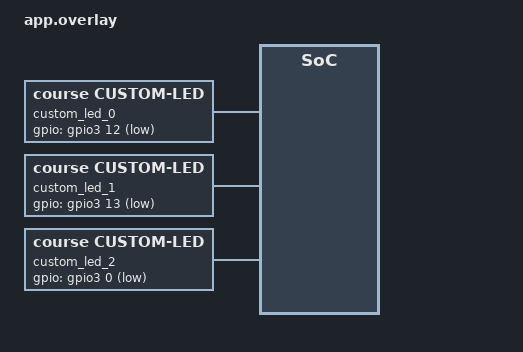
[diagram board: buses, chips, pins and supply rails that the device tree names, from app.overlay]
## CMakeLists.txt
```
cmake_minimum_required(VERSION 3.20.0)

find_package(Zephyr REQUIRED)
project(my_zephyr_app)

target_sources(app PRIVATE src/main.cpp src/blink.c)
```

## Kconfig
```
choice 
  prompt "LED blink sleep time"
  default LED_BLINK_1S

config LED_BLINK_250MS
  bool "250 ms (very fast)"

config LED_BLINK_500MS
  bool "500 ms (fast)"

config LED_BLINK_1S
  bool "1 s (medium)"

config LED_BLINK_2S
  bool "2 s (slow)"
endchoice

config LED_BLINK_SLEEP_TIME
  int
  default 250 if LED_BLINK_250MS
  default 500 if LED_BLINK_500MS
  default 1000 if LED_BLINK_1S

menuconfig ADVANCED_LED_SETTINGS
  bool "Advanced LED settings"
  default n

if ADVANCED_LED_SETTINGS
config LED_BRIGHTNESS
  int "LED brightness (0-100)"
  default 100
  range 0 100

config LED_FADE_DURATION
  int "LED fade duration (ms)"
  default 500
  range 0 5000
    
menu "Expert settings"
  visible if ADVANCED_LED_SETTINGS
config ENABLE_LED_DEBUGGING
  bool "Enable LED debugging"
  default n
config CUSTOM_BLINK_PATTERN
  bool "Custom blink pattern"
  default n
endmenu

endif

source "Kconfig.zephyr"
```

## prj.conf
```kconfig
CONFIG_GPIO=y
CONFIG_LOG=y
CONFIG_SENSOR=y
CONFIG_CUSTOM_LED=y
CONFIG_SHELL=y
CONFIG_CUSTOM_LED_SHELL=y
```

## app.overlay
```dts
/ {
    custom_led_0: custom-led0 {
        compatible = "course,custom-led";
        gpios = <&gpio3 12 GPIO_ACTIVE_LOW>;
    };

    custom_led_1: custom-led1 {
        compatible = "course,custom-led";
        gpios = <&gpio3 13 GPIO_ACTIVE_LOW>;
    };

    custom_led_2: custom-led2 {
        compatible = "course,custom-led";
        gpios = <&gpio3 0 GPIO_ACTIVE_LOW>;
    };

    aliases {
        ledr = &custom_led_0;
        ledg = &custom_led_1;
        ledb = &custom_led_2;
    };
};
```

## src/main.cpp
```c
#include <zephyr/drivers/gpio.h>
#include <zephyr/kernel.h>
#include <zephyr/logging/log.h>

/* The devicetree node identifier for the "app-led" alias. */
#define LED_NODE DT_ALIAS(app_led)

/* Shared with blink.c, so it needs C linkage. */
extern "C" const struct gpio_dt_spec led = GPIO_DT_SPEC_GET(LED_NODE, gpios);

extern "C" int blink(void);

LOG_MODULE_REGISTER(main, LOG_LEVEL_INF);

int main(void)
{
    bool led_state = true;

    if (!gpio_is_ready_dt(&led)) return 0;

    if (gpio_pin_configure_dt(&led, GPIO_OUTPUT_ACTIVE) < 0) return 0;

    while (1) {
        if (blink() < 0) return 0;

        led_state = !led_state;
        LOG_INF("LED state: %s", led_state ? "ON" : "OFF");
        k_msleep(CONFIG_APP_HEARTBEAT_PERIOD_MS);
    }
    return 0;
}
```

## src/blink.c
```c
#include <zephyr/drivers/gpio.h>

/* Defined in main.cpp. */
extern const struct gpio_dt_spec led;

int blink(void) { return gpio_pin_toggle_dt(&led); }
```
